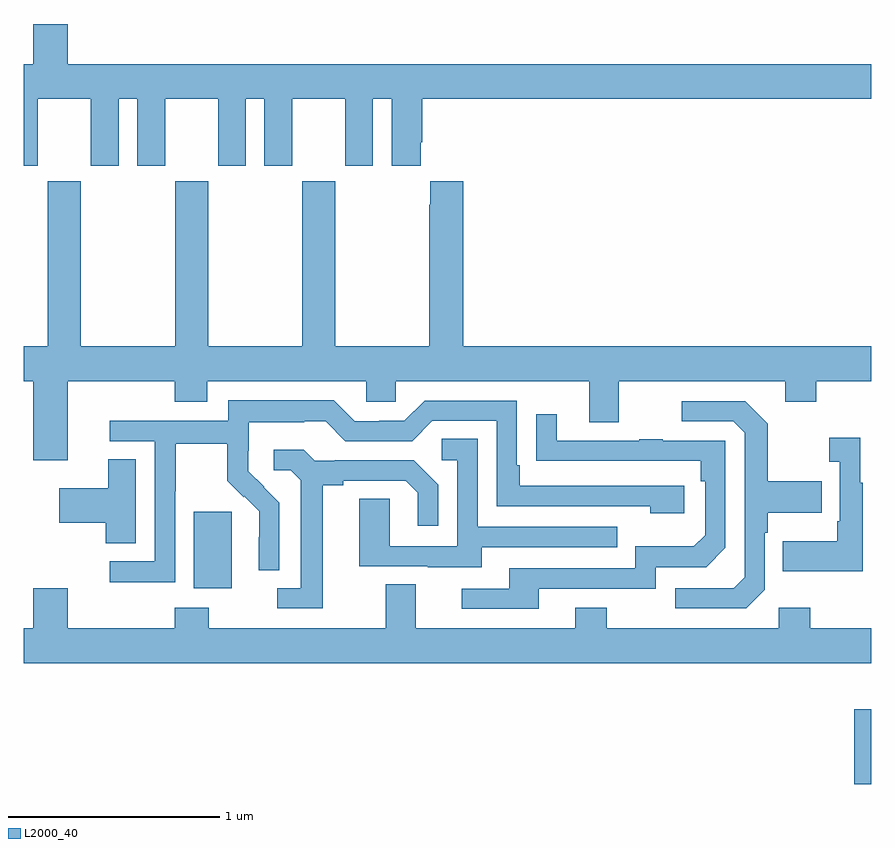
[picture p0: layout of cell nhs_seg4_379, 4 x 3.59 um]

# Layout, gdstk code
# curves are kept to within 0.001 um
import gdstk
lib = gdstk.Library(unit=1e-6, precision=1e-09)
def R(c, l, rs):  # rectangles x0, y0, x1, y1
    for r in rs: c.add(gdstk.rectangle(r[:2], r[2:], *l))
def P(c, l, *ps):  # polygons
    for p in ps: c.add(gdstk.Polygon(p, *l))
L2000_40 = (2000, 40)

nhs_seg4_379 = lib.new_cell('nhs_seg4_379')
R(nhs_seg4_379, L2000_40, [(132.92,802.91,133,803.263), (129.803,803.834,129.982,804.195)])
P(nhs_seg4_379, L2000_40, [(129.067,806.144),(129.317,806.144),(129.317,805.827),(129.448,805.827),(129.448,806.144),(129.536,806.144),(129.536,805.827),(129.667,805.827),(129.667,806.144),(129.917,806.144),(129.917,805.827),(130.048,805.827),(130.048,806.144),(130.136,806.144),(130.136,805.827),(130.267,805.827),(130.267,806.144),(130.517,806.144),(130.517,805.827),(130.648,805.827),(130.648,806.144),(130.736,806.144),(130.736,805.827),(130.873,805.827),(130.873,805.939),(130.88,805.939),(130.88,806.144),(133,806.144),(133,806.308),(129.208,806.308),(129.208,806.497),(129.044,806.497),(129.044,806.308),(129,806.308),(129,805.827),(129.067,805.827)],
  [(129.208,804.812),(129.713,804.812),(129.713,804.713),(129.865,804.713),(129.865,804.812),(130.617,804.812),(130.617,804.714),(130.755,804.714),(130.755,804.812),(131.669,804.812),(131.669,804.618),(131.809,804.618),(131.809,804.812),(132.593,804.812),(132.593,804.713),(132.741,804.713),(132.741,804.812),(133,804.812),(133,804.976),(131.075,804.976),(131.075,805.756),(130.919,805.756),(130.919,805.643),(130.915,805.643),(130.915,804.976),(130.47,804.976),(130.47,805.756),(130.315,805.756),(130.315,804.976),(129.87,804.976),(129.87,805.756),(129.715,805.756),(129.715,804.976),(129.27,804.976),(129.27,805.756),(129.114,805.756),(129.114,804.976),(129,804.976),(129,804.812),(129.044,804.812),(129.044,804.438),(129.208,804.438)],
  [(129.714,804.292),(129.717,804.292),(129.717,804.516),(129.961,804.516),(129.961,804.341),(130.038,804.264),(130.041,804.267),(130.112,804.197),(130.112,804.074),(130.11,804.074),(130.11,803.92),(130.206,803.92),(130.206,804.238),(130.06,804.386),(130.06,804.483),(130.062,804.483),(130.062,804.617),(130.325,804.617),(130.325,804.621),(130.425,804.621),(130.518,804.528),(130.833,804.528),(130.929,804.624),(131.232,804.624),(131.232,804.222),(131.957,804.222),(131.957,804.188),(132.118,804.188),(132.118,804.318),(131.341,804.318),(131.341,804.415),(131.328,804.415),(131.328,804.72),(130.893,804.72),(130.797,804.624),(130.679,804.624),(130.679,804.621),(130.563,804.621),(130.463,804.721),(129.966,804.721),(129.966,804.624),(129.405,804.624),(129.405,804.528),(129.618,804.528),(129.618,803.961),(129.405,803.961),(129.405,803.863),(129.714,803.863)],
  [(132.498,803.826),(132.498,804.095),(132.511,804.095),(132.511,804.191),(132.767,804.191),(132.767,804.339),(132.511,804.339),(132.511,804.611),(132.405,804.717),(132.105,804.717),(132.105,804.621),(132.348,804.621),(132.402,804.567),(132.402,803.886),(132.351,803.835),(132.075,803.835),(132.075,803.739),(132.411,803.739)],
  [(131.431,803.832),(131.982,803.832),(131.982,803.934),(132.222,803.934),(132.312,804.024),(132.312,804.531),(132.017,804.531),(132.017,804.536),(131.905,804.536),(131.905,804.531),(131.515,804.531),(131.515,804.655),(131.419,804.655),(131.419,804.436),(132.196,804.435),(132.196,804.338),(132.216,804.338),(132.216,804.084),(132.163,804.031),(131.886,804.031),(131.886,803.928),(131.291,803.928),(131.291,803.832),(131.067,803.832),(131.067,803.736),(131.431,803.736)],
  [(132.961,804.331),(132.949,804.331),(132.949,804.544),(132.801,804.544),(132.801,804.431),(132.852,804.431),(132.852,804.151),(132.84,804.151),(132.84,804.055),(132.583,804.055),(132.583,803.915),(132.961,803.915)],
  [(131.161,804.027),(131.801,804.027),(131.801,804.123),(131.142,804.123),(131.142,804.539),(130.974,804.539),(130.974,804.438),(131.046,804.438),(131.046,804.033),(130.728,804.033),(130.728,804.257),(130.583,804.257),(130.583,803.937),(130.907,803.937),(130.907,803.933),(131.161,803.933)],
  [(130.411,804.32),(130.507,804.32),(130.507,804.342),(130.802,804.342),(130.859,804.285),(130.859,804.129),(130.956,804.129),(130.956,804.322),(130.84,804.438),(130.468,804.438),(130.468,804.435),(130.374,804.435),(130.322,804.487),(130.179,804.487),(130.179,804.39),(130.26,804.39),(130.307,804.343),(130.307,803.835),(130.197,803.835),(130.197,803.739),(130.411,803.739)],
  [(129.529,804.443),(129.398,804.443),(129.398,804.307),(129.168,804.307),(129.168,804.142),(129.386,804.142),(129.386,804.046),(129.529,804.046)],
  [(133,803.644),(132.711,803.644),(132.711,803.743),(132.564,803.743),(132.564,803.644),(131.751,803.644),(131.751,803.743),(131.603,803.743),(131.603,803.644),(130.849,803.644),(130.849,803.852),(130.709,803.852),(130.709,803.644),(129.873,803.644),(129.873,803.743),(129.713,803.743),(129.713,803.644),(129.208,803.644),(129.208,803.833),(129.044,803.833),(129.044,803.644),(129,803.644),(129,803.48),(133,803.48)])

lib.write_gds('nhs_seg4_379.gds')
